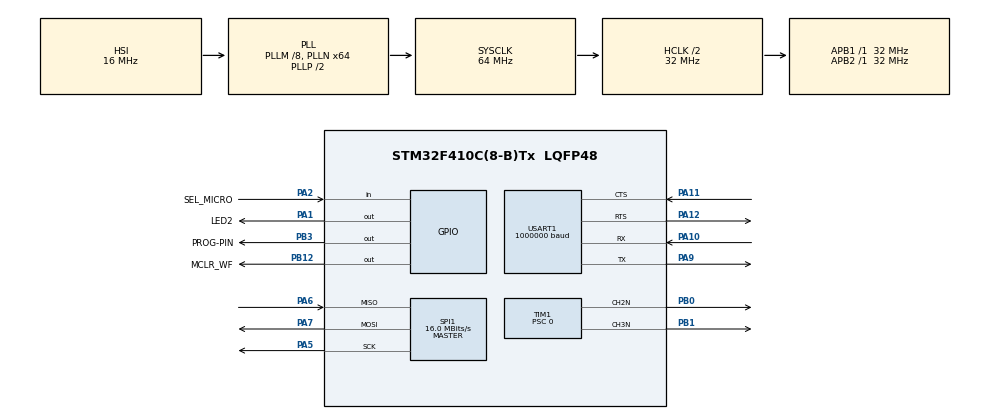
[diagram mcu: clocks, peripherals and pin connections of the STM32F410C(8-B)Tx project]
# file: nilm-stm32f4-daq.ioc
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Dma.Request0=USART1_RX
Dma.Request1=USART1_TX
Dma.Request2=SPI1_RX
Dma.Request3=SPI1_TX
Dma.SPI1_RX.2.Direction=DMA_PERIPH_TO_MEMORY
Dma.SPI1_RX.2.FIFOMode=DMA_FIFOMODE_DISABLE
Dma.SPI1_RX.2.Instance=DMA2_Stream0
Dma.SPI1_RX.2.MemDataAlignment=DMA_MDATAALIGN_BYTE
Dma.SPI1_RX.2.MemInc=DMA_MINC_ENABLE
Dma.SPI1_RX.2.Mode=DMA_NORMAL
Dma.SPI1_RX.2.PeriphDataAlignment=DMA_PDATAALIGN_BYTE
Dma.SPI1_RX.2.PeriphInc=DMA_PINC_DISABLE
Dma.SPI1_RX.2.Priority=DMA_PRIORITY_VERY_HIGH
Dma.SPI1_TX.3.Direction=DMA_MEMORY_TO_PERIPH
Dma.SPI1_TX.3.FIFOMode=DMA_FIFOMODE_DISABLE
Dma.SPI1_TX.3.Instance=DMA2_Stream3
Dma.SPI1_TX.3.MemDataAlignment=DMA_MDATAALIGN_BYTE
Dma.SPI1_TX.3.MemInc=DMA_MINC_ENABLE
Dma.SPI1_TX.3.Mode=DMA_NORMAL
Dma.SPI1_TX.3.PeriphDataAlignment=DMA_PDATAALIGN_BYTE
Dma.SPI1_TX.3.PeriphInc=DMA_PINC_DISABLE
Dma.SPI1_TX.3.Priority=DMA_PRIORITY_VERY_HIGH
Dma.USART1_RX.0.Direction=DMA_PERIPH_TO_MEMORY
Dma.USART1_RX.0.FIFOMode=DMA_FIFOMODE_DISABLE
Dma.USART1_RX.0.Instance=DMA2_Stream2
Dma.USART1_RX.0.MemDataAlignment=DMA_MDATAALIGN_BYTE
Dma.USART1_RX.0.MemInc=DMA_MINC_DISABLE
Dma.USART1_RX.0.Mode=DMA_NORMAL
Dma.USART1_RX.0.PeriphDataAlignment=DMA_PDATAALIGN_BYTE
Dma.USART1_RX.0.PeriphInc=DMA_PINC_DISABLE
Dma.USART1_RX.0.Priority=DMA_PRIORITY_VERY_HIGH
Dma.USART1_TX.1.Direction=DMA_MEMORY_TO_PERIPH
Dma.USART1_TX.1.FIFOMode=DMA_FIFOMODE_DISABLE
Dma.USART1_TX.1.Instance=DMA2_Stream7
Dma.USART1_TX.1.MemDataAlignment=DMA_MDATAALIGN_BYTE
Dma.USART1_TX.1.MemInc=DMA_MINC_ENABLE
Dma.USART1_TX.1.Mode=DMA_NORMAL
Dma.USART1_TX.1.PeriphDataAlignment=DMA_PDATAALIGN_BYTE
Dma.USART1_TX.1.PeriphInc=DMA_PINC_DISABLE
Dma.USART1_TX.1.Priority=DMA_PRIORITY_VERY_HIGH
Mcu.Family=STM32F4
Mcu.Name=STM32F410C(8-B)Tx
Mcu.Package=LQFP48
NVIC.DMA2_Stream0_IRQn=true\:0\:0\:false\:false\:true\:false
NVIC.DMA2_Stream2_IRQn=true\:0\:0\:false\:false\:true\:false
NVIC.DMA2_Stream3_IRQn=true\:0\:0\:false\:false\:true\:false
NVIC.DMA2_Stream7_IRQn=true\:0\:0\:false\:false\:true\:false
NVIC.PriorityGroup=NVIC_PRIORITYGROUP_4
NVIC.SPI1_IRQn=true\:1\:0\:true\:false\:true\:true
NVIC.TIM1_CC_IRQn=true\:0\:0\:true\:false\:true\:true
NVIC.USART1_IRQn=true\:4\:0\:true\:false\:true\:true
PA1.GPIO_Label=LED2
PA1.Signal=GPIO_Output
PA10.GPIO_Speed=GPIO_SPEED_FREQ_VERY_HIGH
PA10.Mode=Asynchronous
PA10.Signal=USART1_RX
PA11.Mode=CTS_RTS
PA11.Signal=USART1_CTS
PA12.Mode=CTS_RTS
PA12.Signal=USART1_RTS
PA13.Mode=Serial_Wire
PA13.Signal=SYS_JTMS-SWDIO
PA14.Mode=Serial_Wire
PA14.Signal=SYS_JTCK-SWCLK
PA2.GPIO_Label=SEL_MICRO
PA2.Signal=GPIO_Input
PA5.GPIO_PuPd=GPIO_NOPULL
PA5.Mode=Full_Duplex_Master
PA5.Signal=SPI1_SCK
PA6.GPIO_PuPd=GPIO_NOPULL
PA6.Mode=Full_Duplex_Master
PA6.Signal=SPI1_MISO
PA7.Mode=Full_Duplex_Master
PA7.Signal=SPI1_MOSI
PA9.GPIO_Speed=GPIO_SPEED_FREQ_VERY_HIGH
PA9.Mode=Asynchronous
PA9.Signal=USART1_TX
PB0.GPIO_Speed=GPIO_SPEED_FREQ_VERY_HIGH
PB0.Mode=PWM Generation2 CH2N
PB0.Signal=TIM1_CH2N
PB1.GPIO_Speed=GPIO_SPEED_FREQ_VERY_HIGH
PB1.Mode=PWM Generation3 CH3N
PB1.Signal=TIM1_CH3N
PB12.GPIO_Label=MCLR_WF
PB12.Signal=GPIO_Output
PB3.GPIO_Label=PROG-PIN
PB3.Signal=GPIO_Output
ProjectManager.HeapSize=0x200
ProjectManager.StackSize=0x400
ProjectManager.TargetToolchain=SW4STM32
RCC.48MHZClocksFreq_Value=32000000
RCC.AHBCLKDivider=RCC_SYSCLK_DIV2
RCC.AHBFreq_Value=32000000
RCC.APB1Freq_Value=32000000
RCC.APB1TimFreq_Value=32000000
RCC.APB2Freq_Value=32000000
RCC.APB2TimFreq_Value=32000000
RCC.CortexFreq_Value=32000000
RCC.HCLKFreq_Value=32000000
RCC.HSE_VALUE=25000000
RCC.HSI_VALUE=16000000
RCC.LSE_VALUE=32768
RCC.PLLM=8
RCC.PLLN=64
RCC.SYSCLKFreq_VALUE=64000000
RCC.SYSCLKSource=RCC_SYSCLKSOURCE_PLLCLK
RCC.VCOOutputFreq_Value=128000000
SPI1.BaudRatePrescaler=SPI_BAUDRATEPRESCALER_2
SPI1.CLKPhase=SPI_PHASE_2EDGE
SPI1.CalculateBaudRate=16.0 MBits/s
SPI1.DataSize=SPI_DATASIZE_8BIT
SPI1.Direction=SPI_DIRECTION_2LINES
SPI1.Mode=SPI_MODE_MASTER
SPI1.VirtualType=VM_MASTER
TIM1.Channel-Output\ Compare1\ No\ Output=TIM_CHANNEL_1
TIM1.Channel-PWM\ Generation2\ CH2N=TIM_CHANNEL_2
TIM1.Channel-PWM\ Generation3\ CH3N=TIM_CHANNEL_3
TIM1.OCFastMode_PWM-PWM\ Generation2\ CH2N=TIM_OCFAST_ENABLE
TIM1.OCFastMode_PWM-PWM\ Generation3\ CH3N=TIM_OCFAST_ENABLE
TIM1.OCMode_PWM-PWM\ Generation2\ CH2N=TIM_OCMODE_PWM2
TIM1.OCMode_PWM-PWM\ Generation3\ CH3N=TIM_OCMODE_PWM2
TIM1.Period=1618
TIM1.Prescaler=0
TIM1.Pulse-Output\ Compare1\ No\ Output=1618-3-350
TIM1.Pulse-PWM\ Generation2\ CH2N=1618-4
TIM1.Pulse-PWM\ Generation3\ CH3N=1618-4
USART1.BaudRate=1000000
USART1.VirtualMode=VM_ASYNC
VP_TIM1_VS_ClockSourceINT.Mode=Internal
VP_TIM1_VS_no_output1.Mode=Output Compare1 No Output
board=custom

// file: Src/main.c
/* USER CODE BEGIN Header */
/**
  ******************************************************************************
  * @file           : main.c
  * @brief          : Main program body
  ******************************************************************************
  ** This notice applies to any and all portions of this file
  * that are not between comment pairs USER CODE BEGIN and
  * USER CODE END. Other portions of this file, whether
  * inserted by the user or by software development tools
  * are owned by their respective copyright owners.
  *
  * COPYRIGHT(c) 2019 STMicroelectronics
  *
  * Redistribution and use in source and binary forms, with or without modification,
  * are permitted provided that the following conditions are met:
  *   1. Redistributions of source code must retain the above copyright notice,
  *      this list of conditions and the following disclaimer.
  *   2. Redistributions in binary form must reproduce the above copyright notice,
  *      this list of conditions and the following disclaimer in the documentation
  *      and/or other materials provided with the distribution.
  *   3. Neither the name of STMicroelectronics nor the names of its contributors
  *      may be used to endorse or promote products derived from this software
  *      without specific prior written permission.
  *
  * THIS SOFTWARE IS PROVIDED BY THE COPYRIGHT HOLDERS AND CONTRIBUTORS "AS IS"
  * AND ANY EXPRESS OR IMPLIED WARRANTIES, INCLUDING, BUT NOT LIMITED TO, THE
  * IMPLIED WARRANTIES OF MERCHANTABILITY AND FITNESS FOR A PARTICULAR PURPOSE ARE
  * DISCLAIMED. IN NO EVENT SHALL THE COPYRIGHT HOLDER OR CONTRIBUTORS BE LIABLE
  * FOR ANY DIRECT, INDIRECT, INCIDENTAL, SPECIAL, EXEMPLARY, OR CONSEQUENTIAL
  * DAMAGES (INCLUDING, BUT NOT LIMITED TO, PROCUREMENT OF SUBSTITUTE GOODS OR
  * SERVICES; LOSS OF USE, DATA, OR PROFITS; OR BUSINESS INTERRUPTION) HOWEVER
  * CAUSED AND ON ANY THEORY OF LIABILITY, WHETHER IN CONTRACT, STRICT LIABILITY,
  * OR TORT (INCLUDING NEGLIGENCE OR OTHERWISE) ARISING IN ANY WAY OUT OF THE USE
  * OF THIS SOFTWARE, EVEN IF ADVISED OF THE POSSIBILITY OF SUCH DAMAGE.
  *
  ******************************************************************************
  */
/* USER CODE END Header */

#include "main.h"

/* USER CODE BEGIN Includes */
#include "wifi_bglib.h"
#include "wf121.h"
/* USER CODE END Includes */

/* USER CODE BEGIN PTD */
/*
 * wf112.h
 *
 *  Created on: May 7, 2019
 *      Author: burr
 */
/* USER CODE END PTD */

/* USER CODE BEGIN PD */

#define wifi
#define BUFFERSIZE 64

/* USER CODE END PD */

SPI_HandleTypeDef hspi1;
DMA_HandleTypeDef hdma_spi1_rx;
DMA_HandleTypeDef hdma_spi1_tx;

TIM_HandleTypeDef htim1;

UART_HandleTypeDef huart1;
DMA_HandleTypeDef hdma_usart1_rx;
DMA_HandleTypeDef hdma_usart1_tx;

/* USER CODE BEGIN PV */

typedef struct {
	uint8_t bytes[4];
}sample_t;

typedef struct {
     volatile sample_t buf[BUFFERSIZE]; //constant pointer, value can change (!= const int)
     volatile int16_t head;
     volatile int16_t full;
     volatile int16_t size;
} pp_buffer_t;
/* USER CODE END PV */

void SystemClock_Config(void);
static void MX_GPIO_Init(void);
static void MX_DMA_Init(void);
static void MX_USART1_UART_Init(void);
static void MX_SPI1_Init(void);
static void MX_TIM1_Init(void);

/* USER CODE BEGIN 0 */
uint8_t rxbuffer[BGLIB_MSG_MAXLEN]={0};

volatile uint8_t spibuffer1[4]={0};
volatile uint8_t spibuffer2[4]={0};
volatile uint8_t avgswitch=0;

volatile pp_buffer_t txbufferping;
volatile pp_buffer_t txbufferpong;
volatile uint8_t spirxcplt=1;

volatile uint8_t buffertowrite=0;
volatile uint8_t setmarker=0;

/** Length of message payload data. */
volatile uint16_t msg_length=0;
volatile uint8_t rxcplt=0;
volatile uint8_t awaitmore=0;
volatile uint8_t txcplt;

uint8_t started_measurement=0;

uint8_t saved_endpoint=0;
uint8_t connected = 0;
uint8_t errorcounter=0;

// Define BGLIB library
BGLIB_DEFINE();

/* USER CODE END 0 */

int main(void)
{

  /* MCU Configuration--------------------------------------------------------*/

  /* Reset of all peripherals, Initializes the Flash interface and the Systick. */
  HAL_Init();

  /* Configure the system clock */
  SystemClock_Config();

  /* Initialize all configured peripherals */
  MX_GPIO_Init();
  MX_DMA_Init();
  MX_USART1_UART_Init();
  MX_SPI1_Init();
  MX_TIM1_Init();
  /* USER CODE BEGIN 2 */

  txbufferping.head = 0;
  txbufferping.full = 0;
  txbufferping.size = BUFFERSIZE;

  txbufferpong.head = 0;
  txbufferpong.full = 0;
  txbufferpong.size = BUFFERSIZE;
  #ifdef wifi

  wifi_init(rxbuffer);
  uint8_t streamingset=0;

  while (!streamingset){

	  if (rxcplt){
		  wifi_connect(rxbuffer, &streamingset); //Establishes the WiFi & TCPIP/UDP Connection. Type of Connection can be set in wf121.c by Macros.
	  }
  }
  //CONNECTION SUCESSFUL
  HAL_TIMEx_PWMN_Start(&htim1, TIM_CHANNEL_2); //for triggering CONV at NISO
  HAL_TIMEx_PWMN_Start(&htim1, TIM_CHANNEL_3); //for triggering CONV at ISO (current and voltage)
  HAL_TIM_OC_Start_IT(&htim1, TIM_CHANNEL_1); //triggers spi read
  //The 2 commands below guarantee that operation isn't disturbed by the UART IRQ, can be uncommented if status updates shall be further received.
  HAL_UART_AbortReceive_IT(&huart1);
  rxcplt=0; //

  /* USER CODE END 2 */

  /* Infinite loop */
  while (1)
  {

    /* USER CODE BEGIN 3 */

//	  if(rxcplt){ //Check for status updates of WiFi module
//		  wifi_check(rxbuffer, &streamingset);
//	  }

	  if((HAL_UART_GetState(&huart1)==HAL_UART_STATE_READY) && (txbufferping.full==1) && spirxcplt){
		  if(HAL_UART_Transmit_DMA(&huart1, (uint8_t*) &txbufferping.buf[0].bytes[0], BUFFERSIZE*4/2)!=HAL_OK){
			  HAL_GPIO_TogglePin(LED2_GPIO_Port, LED2_Pin);}
		  else
		  {
			  txbufferping.head=0;
			  txbufferping.full=0;
		  }
	  }

	  if((HAL_UART_GetState(&huart1)==HAL_UART_STATE_READY) && (txbufferpong.full==1) && spirxcplt){

		  if(HAL_UART_Transmit_DMA(&huart1, (uint8_t*) &txbufferpong.buf[0].bytes[0], BUFFERSIZE*4/2)!=HAL_OK){
			  HAL_GPIO_TogglePin(LED2_GPIO_Port, LED2_Pin);}
		  else
		  {
			  txbufferpong.head=0;
			  txbufferpong.full=0;
		  }
	  }

  }

#else

  HAL_TIMEx_PWMN_Start(&htim1, TIM_CHANNEL_2); //for triggering CONV at NISO
  HAL_TIMEx_PWMN_Start(&htim1, TIM_CHANNEL_3); //for triggering CONV at ISO (current and voltage)
  HAL_TIM_OC_Start_IT(&htim1, TIM_CHANNEL_1); //triggers spi read
  //  char voltagestring[6];
while (1)
{
	HAL_Delay(100);
	voltage= (int16_t)((((spibuffer[0]&0b00111111)<<8)|(spibuffer[1]))<<2)/4;
	sprintf(voltagestring, "%u", voltage);
}
#endif
  /* USER CODE END 3 */
}

void SystemClock_Config(void)
{
  RCC_OscInitTypeDef RCC_OscInitStruct = {0};
  RCC_ClkInitTypeDef RCC_ClkInitStruct = {0};

  /**Configure the main internal regulator output voltage
  */
  __HAL_RCC_PWR_CLK_ENABLE();
  __HAL_PWR_VOLTAGESCALING_CONFIG(PWR_REGULATOR_VOLTAGE_SCALE1);
  /**Initializes the CPU, AHB and APB busses clocks
  */
  RCC_OscInitStruct.OscillatorType = RCC_OSCILLATORTYPE_HSI;
  RCC_OscInitStruct.HSIState = RCC_HSI_ON;
  RCC_OscInitStruct.HSICalibrationValue = RCC_HSICALIBRATION_DEFAULT;
  RCC_OscInitStruct.PLL.PLLState = RCC_PLL_ON;
  RCC_OscInitStruct.PLL.PLLSource = RCC_PLLSOURCE_HSI;
  RCC_OscInitStruct.PLL.PLLM = 8;
  RCC_OscInitStruct.PLL.PLLN = 64;
  RCC_OscInitStruct.PLL.PLLP = RCC_PLLP_DIV2;
  RCC_OscInitStruct.PLL.PLLQ = 4;
  RCC_OscInitStruct.PLL.PLLR = 2;
  if (HAL_RCC_OscConfig(&RCC_OscInitStruct) != HAL_OK)
  {
    Error_Handler();
  }
  /**Initializes the CPU, AHB and APB busses clocks
  */
  RCC_ClkInitStruct.ClockType = RCC_CLOCKTYPE_HCLK|RCC_CLOCKTYPE_SYSCLK
                              |RCC_CLOCKTYPE_PCLK1|RCC_CLOCKTYPE_PCLK2;
  RCC_ClkInitStruct.SYSCLKSource = RCC_SYSCLKSOURCE_PLLCLK;
  RCC_ClkInitStruct.AHBCLKDivider = RCC_SYSCLK_DIV2;
  RCC_ClkInitStruct.APB1CLKDivider = RCC_HCLK_DIV1;
  RCC_ClkInitStruct.APB2CLKDivider = RCC_HCLK_DIV1;

  if (HAL_RCC_ClockConfig(&RCC_ClkInitStruct, FLASH_LATENCY_1) != HAL_OK)
  {
    Error_Handler();
  }
}

static void MX_SPI1_Init(void)
{

  /* SPI1 parameter configuration*/
  hspi1.Instance = SPI1;
  hspi1.Init.Mode = SPI_MODE_MASTER;
  hspi1.Init.Direction = SPI_DIRECTION_2LINES;
  hspi1.Init.DataSize = SPI_DATASIZE_8BIT;
  hspi1.Init.CLKPolarity = SPI_POLARITY_LOW;
  hspi1.Init.CLKPhase = SPI_PHASE_2EDGE;
  hspi1.Init.NSS = SPI_NSS_SOFT;
  hspi1.Init.BaudRatePrescaler = SPI_BAUDRATEPRESCALER_2;
  hspi1.Init.FirstBit = SPI_FIRSTBIT_MSB;
  hspi1.Init.TIMode = SPI_TIMODE_DISABLE;
  hspi1.Init.CRCCalculation = SPI_CRCCALCULATION_DISABLE;
  hspi1.Init.CRCPolynomial = 15;
  if (HAL_SPI_Init(&hspi1) != HAL_OK)
  {
    Error_Handler();
  }

}

static void MX_TIM1_Init(void)
{

  TIM_ClockConfigTypeDef sClockSourceConfig = {0};
  TIM_MasterConfigTypeDef sMasterConfig = {0};
  TIM_OC_InitTypeDef sConfigOC = {0};
  TIM_BreakDeadTimeConfigTypeDef sBreakDeadTimeConfig = {0};

  htim1.Instance = TIM1;
  htim1.Init.Prescaler = 0;
  htim1.Init.CounterMode = TIM_COUNTERMODE_UP;
  htim1.Init.Period = 1608;
  htim1.Init.ClockDivision = TIM_CLOCKDIVISION_DIV1;
  htim1.Init.RepetitionCounter = 0;
  if (HAL_TIM_Base_Init(&htim1) != HAL_OK)
  {
    Error_Handler();
  }
  sClockSourceConfig.ClockSource = TIM_CLOCKSOURCE_INTERNAL;
  if (HAL_TIM_ConfigClockSource(&htim1, &sClockSourceConfig) != HAL_OK)
  {
    Error_Handler();
  }
  if (HAL_TIM_OC_Init(&htim1) != HAL_OK)
  {
    Error_Handler();
  }
  if (HAL_TIM_PWM_Init(&htim1) != HAL_OK)
  {
    Error_Handler();
  }
  sMasterConfig.MasterOutputTrigger = TIM_TRGO_RESET;
  sMasterConfig.MasterSlaveMode = TIM_MASTERSLAVEMODE_DISABLE;
  if (HAL_TIMEx_MasterConfigSynchronization(&htim1, &sMasterConfig) != HAL_OK)
  {
    Error_Handler();
  }
  sConfigOC.OCMode = TIM_OCMODE_TIMING;
  sConfigOC.Pulse = 1608-3-440;
  sConfigOC.OCPolarity = TIM_OCPOLARITY_HIGH;
  sConfigOC.OCNPolarity = TIM_OCNPOLARITY_HIGH;
  sConfigOC.OCFastMode = TIM_OCFAST_DISABLE;
  sConfigOC.OCIdleState = TIM_OCIDLESTATE_RESET;
  sConfigOC.OCNIdleState = TIM_OCNIDLESTATE_RESET;
  if (HAL_TIM_OC_ConfigChannel(&htim1, &sConfigOC, TIM_CHANNEL_1) != HAL_OK)
  {
    Error_Handler();
  }
  sConfigOC.OCMode = TIM_OCMODE_PWM2;
  sConfigOC.Pulse = 1608-1;
  sConfigOC.OCFastMode = TIM_OCFAST_ENABLE;
  if (HAL_TIM_PWM_ConfigChannel(&htim1, &sConfigOC, TIM_CHANNEL_2) != HAL_OK)
  {
    Error_Handler();
  }
  if (HAL_TIM_PWM_ConfigChannel(&htim1, &sConfigOC, TIM_CHANNEL_3) != HAL_OK)
  {
    Error_Handler();
  }
  sBreakDeadTimeConfig.OffStateRunMode = TIM_OSSR_DISABLE;
  sBreakDeadTimeConfig.OffStateIDLEMode = TIM_OSSI_DISABLE;
  sBreakDeadTimeConfig.LockLevel = TIM_LOCKLEVEL_OFF;
  sBreakDeadTimeConfig.DeadTime = 0;
  sBreakDeadTimeConfig.BreakState = TIM_BREAK_DISABLE;
  sBreakDeadTimeConfig.BreakPolarity = TIM_BREAKPOLARITY_HIGH;
  sBreakDeadTimeConfig.AutomaticOutput = TIM_AUTOMATICOUTPUT_DISABLE;
  if (HAL_TIMEx_ConfigBreakDeadTime(&htim1, &sBreakDeadTimeConfig) != HAL_OK)
  {
    Error_Handler();
  }
  HAL_TIM_MspPostInit(&htim1);

}

static void MX_USART1_UART_Init(void)
{

  huart1.Instance = USART1;
  huart1.Init.BaudRate = 1000000;
  huart1.Init.WordLength = UART_WORDLENGTH_8B;
  huart1.Init.StopBits = UART_STOPBITS_1;
  huart1.Init.Parity = UART_PARITY_NONE;
  huart1.Init.Mode = UART_MODE_TX_RX;
  huart1.Init.HwFlowCtl = UART_HWCONTROL_RTS_CTS;
  huart1.Init.OverSampling = UART_OVERSAMPLING_16;
  if (HAL_UART_Init(&huart1) != HAL_OK)
  {
    Error_Handler();
  }

}

static void MX_DMA_Init(void)
{
  /* DMA controller clock enable */
  __HAL_RCC_DMA2_CLK_ENABLE();

  /* DMA interrupt init */
  /* DMA2_Stream0_IRQn interrupt configuration */
  HAL_NVIC_SetPriority(DMA2_Stream0_IRQn, 0, 0);
  HAL_NVIC_EnableIRQ(DMA2_Stream0_IRQn);
  /* DMA2_Stream2_IRQn interrupt configuration */
  HAL_NVIC_SetPriority(DMA2_Stream2_IRQn, 0, 0);
  HAL_NVIC_EnableIRQ(DMA2_Stream2_IRQn);
  /* DMA2_Stream3_IRQn interrupt configuration */
  HAL_NVIC_SetPriority(DMA2_Stream3_IRQn, 0, 0);
  HAL_NVIC_EnableIRQ(DMA2_Stream3_IRQn);
  /* DMA2_Stream7_IRQn interrupt configuration */
  HAL_NVIC_SetPriority(DMA2_Stream7_IRQn, 0, 0);
  HAL_NVIC_EnableIRQ(DMA2_Stream7_IRQn);

}

static void MX_GPIO_Init(void)
{
  GPIO_InitTypeDef GPIO_InitStruct = {0};

  /* GPIO Ports Clock Enable */
  __HAL_RCC_GPIOC_CLK_ENABLE();
  __HAL_RCC_GPIOH_CLK_ENABLE();
  __HAL_RCC_GPIOA_CLK_ENABLE();
  __HAL_RCC_GPIOB_CLK_ENABLE();

  /*Configure GPIO pin Output Level */
  HAL_GPIO_WritePin(LED2_GPIO_Port, LED2_Pin, GPIO_PIN_RESET);

  /*Configure GPIO pin Output Level */
  HAL_GPIO_WritePin(GPIOB, MCLR_WF_Pin|PROG_PIN_Pin, GPIO_PIN_RESET);

  /*Configure GPIO pins : PC13 PC14 PC15 */
  GPIO_InitStruct.Pin = GPIO_PIN_13|GPIO_PIN_14|GPIO_PIN_15;
  GPIO_InitStruct.Mode = GPIO_MODE_ANALOG;
  GPIO_InitStruct.Pull = GPIO_NOPULL;
  HAL_GPIO_Init(GPIOC, &GPIO_InitStruct);

  /*Configure GPIO pins : PH0 PH1 */
  GPIO_InitStruct.Pin = GPIO_PIN_0|GPIO_PIN_1;
  GPIO_InitStruct.Mode = GPIO_MODE_ANALOG;
  GPIO_InitStruct.Pull = GPIO_NOPULL;
  HAL_GPIO_Init(GPIOH, &GPIO_InitStruct);

  /*Configure GPIO pins : PA0 PA3 PA4 PA8
                           PA15 */
  GPIO_InitStruct.Pin = GPIO_PIN_0|GPIO_PIN_3|GPIO_PIN_4|GPIO_PIN_8
                          |GPIO_PIN_15;
  GPIO_InitStruct.Mode = GPIO_MODE_ANALOG;
  GPIO_InitStruct.Pull = GPIO_NOPULL;
  HAL_GPIO_Init(GPIOA, &GPIO_InitStruct);

  /*Configure GPIO pin : LED2_Pin */
  GPIO_InitStruct.Pin = LED2_Pin;
  GPIO_InitStruct.Mode = GPIO_MODE_OUTPUT_PP;
  GPIO_InitStruct.Pull = GPIO_NOPULL;
  GPIO_InitStruct.Speed = GPIO_SPEED_FREQ_LOW;
  HAL_GPIO_Init(LED2_GPIO_Port, &GPIO_InitStruct);

  /*Configure GPIO pin : SEL_MICRO_Pin */
  GPIO_InitStruct.Pin = SEL_MICRO_Pin;
  GPIO_InitStruct.Mode = GPIO_MODE_INPUT;
  GPIO_InitStruct.Pull = GPIO_NOPULL;
  HAL_GPIO_Init(SEL_MICRO_GPIO_Port, &GPIO_InitStruct);

  /*Configure GPIO pins : PB2 PB10 PB13 PB14
                           PB15 PB4 PB5 PB6
                           PB7 PB8 */
  GPIO_InitStruct.Pin = GPIO_PIN_2|GPIO_PIN_10|GPIO_PIN_13|GPIO_PIN_14
                          |GPIO_PIN_15|GPIO_PIN_4|GPIO_PIN_5|GPIO_PIN_6
                          |GPIO_PIN_7|GPIO_PIN_8;
  GPIO_InitStruct.Mode = GPIO_MODE_ANALOG;
  GPIO_InitStruct.Pull = GPIO_NOPULL;
  HAL_GPIO_Init(GPIOB, &GPIO_InitStruct);

  /*Configure GPIO pins : MCLR_WF_Pin PROG_PIN_Pin */
  GPIO_InitStruct.Pin = MCLR_WF_Pin|PROG_PIN_Pin;
  GPIO_InitStruct.Mode = GPIO_MODE_OUTPUT_PP;
  GPIO_InitStruct.Pull = GPIO_NOPULL;
  GPIO_InitStruct.Speed = GPIO_SPEED_FREQ_LOW;
  HAL_GPIO_Init(GPIOB, &GPIO_InitStruct);

}

/* USER CODE BEGIN 4 */
void HAL_UART_RxCpltCallback(UART_HandleTypeDef *huart){ //receive complete
	//UART NVIC Preemption Priority is 4
	if (huart->Instance==USART1){
		if (!awaitmore){
			msg_length = BGLIB_MSG_LEN(rxbuffer);
			if(msg_length){
				awaitmore=1;
				rxcplt=0;
				HAL_UART_Receive_IT(&huart1, &rxbuffer[BGLIB_MSG_HEADER_LEN], msg_length);
			}
			else{
				rxcplt=1;
			}
		}
		else{
			awaitmore=0;
			rxcplt=1;
		}
	}

}

void HAL_TIM_OC_DelayElapsedCallback(TIM_HandleTypeDef *htim){
	//TIM1 NVIC Preemption Priority is 0

	if (htim->Instance==TIM1){
		if (!avgswitch){
			HAL_SPI_Receive_DMA(&hspi1, (uint8_t*) spibuffer1, 4);
		}
		else{
			HAL_SPI_Receive_DMA(&hspi1, (uint8_t*) spibuffer2, 4);
		}
		avgswitch=!avgswitch;
	}
}

void HAL_SPI_RxCpltCallback(SPI_HandleTypeDef *hspi){
	//SPI NVIC Preemption Priority is 1, SPI is triggered in TIM1 IRQ therefore happens later
	spirxcplt=1;
	if (!avgswitch){
		HAL_GPIO_WritePin(PROG_PIN_GPIO_Port, PROG_PIN_Pin, 1);

	switch(buffertowrite){
	case 0:
		if (txbufferping.full==0){
			spirxcplt=0;

			// Averaging over two consecutive measurments, since values are in 14bit twos comp shifting and typecasting is necessary before adding them
			int16_t avgch1 =  ((( (int16_t)((((spibuffer1[0] & 0x003F)<<8) | spibuffer1[1])<<2)  +  (int16_t)((((spibuffer2[0] & 0x003F)<<8) | spibuffer2[1])<<2))>>2)/2);
			int16_t avgch2 =  ((( (int16_t)((((spibuffer1[2] & 0x003F)<<8) | spibuffer1[3])<<2)  +  (int16_t)((((spibuffer2[2] & 0x003F)<<8) | spibuffer2[3])<<2))>>2)/2);

			txbufferping.buf[txbufferping.head].bytes[0]= (avgch1 & 0x3F00)>>8;
			txbufferping.buf[txbufferping.head].bytes[1]= (avgch1 & 0x00FF);
			txbufferping.buf[txbufferping.head].bytes[2]= (avgch2 & 0x3F00)>>8;
			txbufferping.buf[txbufferping.head].bytes[3]= (avgch2 & 0x00FF);
			if (setmarker){
				txbufferping.buf[txbufferping.head].bytes[0]=txbufferping.buf[txbufferping.head].bytes[0] | 0b10000000;
				setmarker=0;
			}

			txbufferping.head++;
			if (txbufferping.head==txbufferping.size/2){
				buffertowrite= 1;
				txbufferping.full=1;
			}
		}
		else{
			//BUFFEROVERFLOW
			HAL_GPIO_WritePin(LED2_GPIO_Port, LED2_Pin, 1);
			setmarker++;
		}
		break;

	case 1:
		if (txbufferpong.full==0){
			spirxcplt=0;

			int16_t avgch1 =  ((( (int16_t)((((spibuffer1[0] & 0x003F)<<8) | spibuffer1[1])<<2)  +  (int16_t)((((spibuffer2[0] & 0x003F)<<8) | spibuffer2[1])<<2))>>2)/2);
			int16_t avgch2 =  ((( (int16_t)((((spibuffer1[2] & 0x003F)<<8) | spibuffer1[3])<<2)  +  (int16_t)((((spibuffer2[2] & 0x003F)<<8) | spibuffer2[3])<<2))>>2)/2);

			txbufferpong.buf[txbufferpong.head].bytes[0]= (avgch1 & 0x3F00)>>8;
			txbufferpong.buf[txbufferpong.head].bytes[1]= (avgch1 & 0x00FF);
			txbufferpong.buf[txbufferpong.head].bytes[2]= (avgch2 & 0x3F00)>>8;
			txbufferpong.buf[txbufferpong.head].bytes[3]= (avgch2 & 0x00FF);
			if (setmarker){
				txbufferpong.buf[txbufferpong.head].bytes[0]=txbufferpong.buf[txbufferpong.head].bytes[0] | 0b01000000;
				setmarker=0;
			}
			txbufferpong.head++;
			if (txbufferpong.head==txbufferpong.size/2){
				buffertowrite= 0;
				txbufferpong.full=1;
			}
		}
		else{
			//BUFFEROVERFLOW
			HAL_GPIO_WritePin(LED2_GPIO_Port, LED2_Pin, 1);
			setmarker++;
		}
		break;

	}
	HAL_GPIO_WritePin(PROG_PIN_GPIO_Port, PROG_PIN_Pin, 0);
	}

}

//void HAL_UART_TxHalfCpltCallback(UART_HandleTypeDef *huart){
//
//}

//void HAL_UART_TxCpltCallback(UART_HandleTypeDef *huart){
////	huart->gState=HAL_UART_STATE_READY;
//	HAL_GPIO_WritePin(PROG_PIN_GPIO_Port, PROG_PIN_Pin, 0);
//}

/* USER CODE END 4 */

void Error_Handler(void)
{
}

/************************ (C) COPYRIGHT STMicroelectronics *****END OF FILE****/
